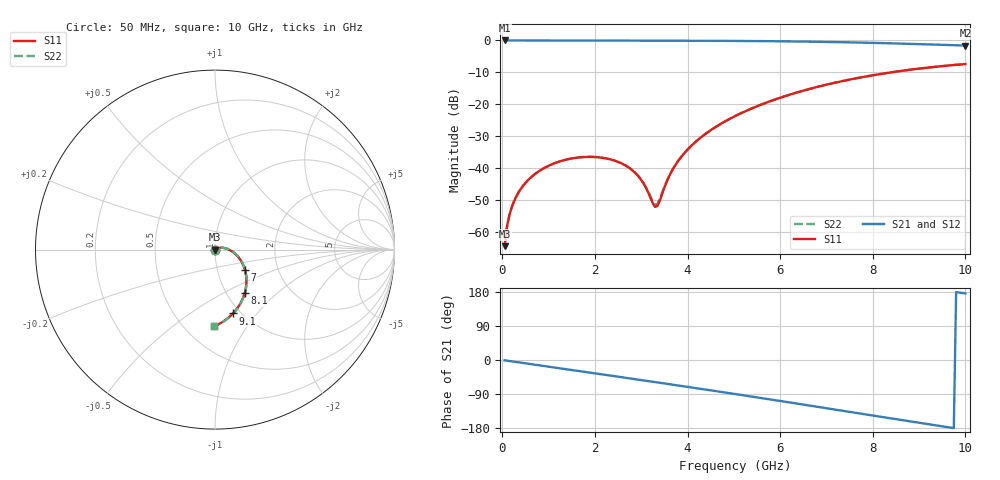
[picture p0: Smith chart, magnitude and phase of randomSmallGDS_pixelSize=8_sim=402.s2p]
! freq	dB(S11)	phase(S11)	dB(S12)	phase(S12)
!  dB(S21)	phase(S21)	dB(S22)	phase(S22)
!S-par simulation data
#  GHz  S  DB  R 50
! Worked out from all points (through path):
!   200 points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, 50 MHz to 10 GHz, reference 50 ohm
!   highest |S21| = 0.00 dB at 50 MHz (marker M1); lowest = -1.6 dB at 10 GHz (marker M2)
!   group delay of S21, straight-line fit = 51.4 ps
!   lowest |S11| = -64.4 dB at 50 MHz (marker M3), VSWR 1.00, Z = 50 - j0.06 ohm
!   |S11| at or under -10 dB: start of sweep to 8.392 GHz
!   |S22| runs from -64.4 to -7.4 dB; largest |S21 - S12| = 0
!   S11 on the Smith chart (normalised r, x): 50 MHz: 1.00, -0.00; 7 GHz: 1.36, -0.33; 8.1 GHz: 1.21, -0.64; 9.1 GHz: 0.92, -0.76; 10 GHz: 0.69, -0.72
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0.05  -64.44 -88.5  -0.00 -0.9  -0.00 -0.9  -64.44 -88.5
0.1  -58.43 -90.8  -0.00 -1.8  -0.00 -1.8  -58.43 -90.8
0.2  -52.43 -93.5  -0.00 -3.5  -0.00 -3.5  -52.43 -93.5
0.35  -47.62 -96.8  -0.00 -6.2  -0.00 -6.2  -47.63 -96.8
0.5  -44.62 -99.8  -0.01 -8.8  -0.01 -8.8  -44.62 -99.9
1.05  -38.92 -110.7  -0.02 -18.5  -0.02 -18.5  -38.92 -110.8
1.75  -36.52 -124.6  -0.03 -30.8  -0.03 -30.8  -36.52 -124.8
2.25  -36.97 -135.4  -0.04 -39.6  -0.04 -39.6  -36.97 -135.7
2.65  -39.08 -145.9  -0.05 -46.7  -0.05 -46.7  -39.06 -146.5
3  -43.68 -161.6  -0.06 -52.9  -0.06 -52.9  -43.62 -162.9
3.3  -52.12 132.4  -0.07 -58.3  -0.07 -58.3  -51.52 131.6
3.4  -50.21 84.6  -0.07 -60.1  -0.07 -60.1  -49.76 86.6
3.65  -41.21 43.7  -0.08 -64.6  -0.08 -64.6  -41.13 45.1
3.95  -34.98 29.9  -0.09 -70.0  -0.09 -70.0  -34.95 30.7
4.4  -29.13 17.8  -0.11 -78.2  -0.11 -78.2  -29.12 18.3
5.05  -23.52 3.8  -0.15 -90.2  -0.15 -90.2  -23.52 4.2
6.7  -14.93 -28.7  -0.39 -121.4  -0.39 -121.4  -14.93 -28.4
7  -13.85 -34.5  -0.46 -127.2  -0.46 -127.2  -13.84 -34.3
8.1  -10.66 -55.6  -0.79 -148.4  -0.79 -148.4  -10.66 -55.4
8.35  -10.09 -60.3  -0.88 -153.2  -0.88 -153.2  -10.09 -60.1
9.1  -8.65 -74.3  -1.19 -167.5  -1.19 -167.5  -8.65 -74.1
10  -7.40 -90.6  -1.60 175.7  -1.60 175.7  -7.40 -90.4
